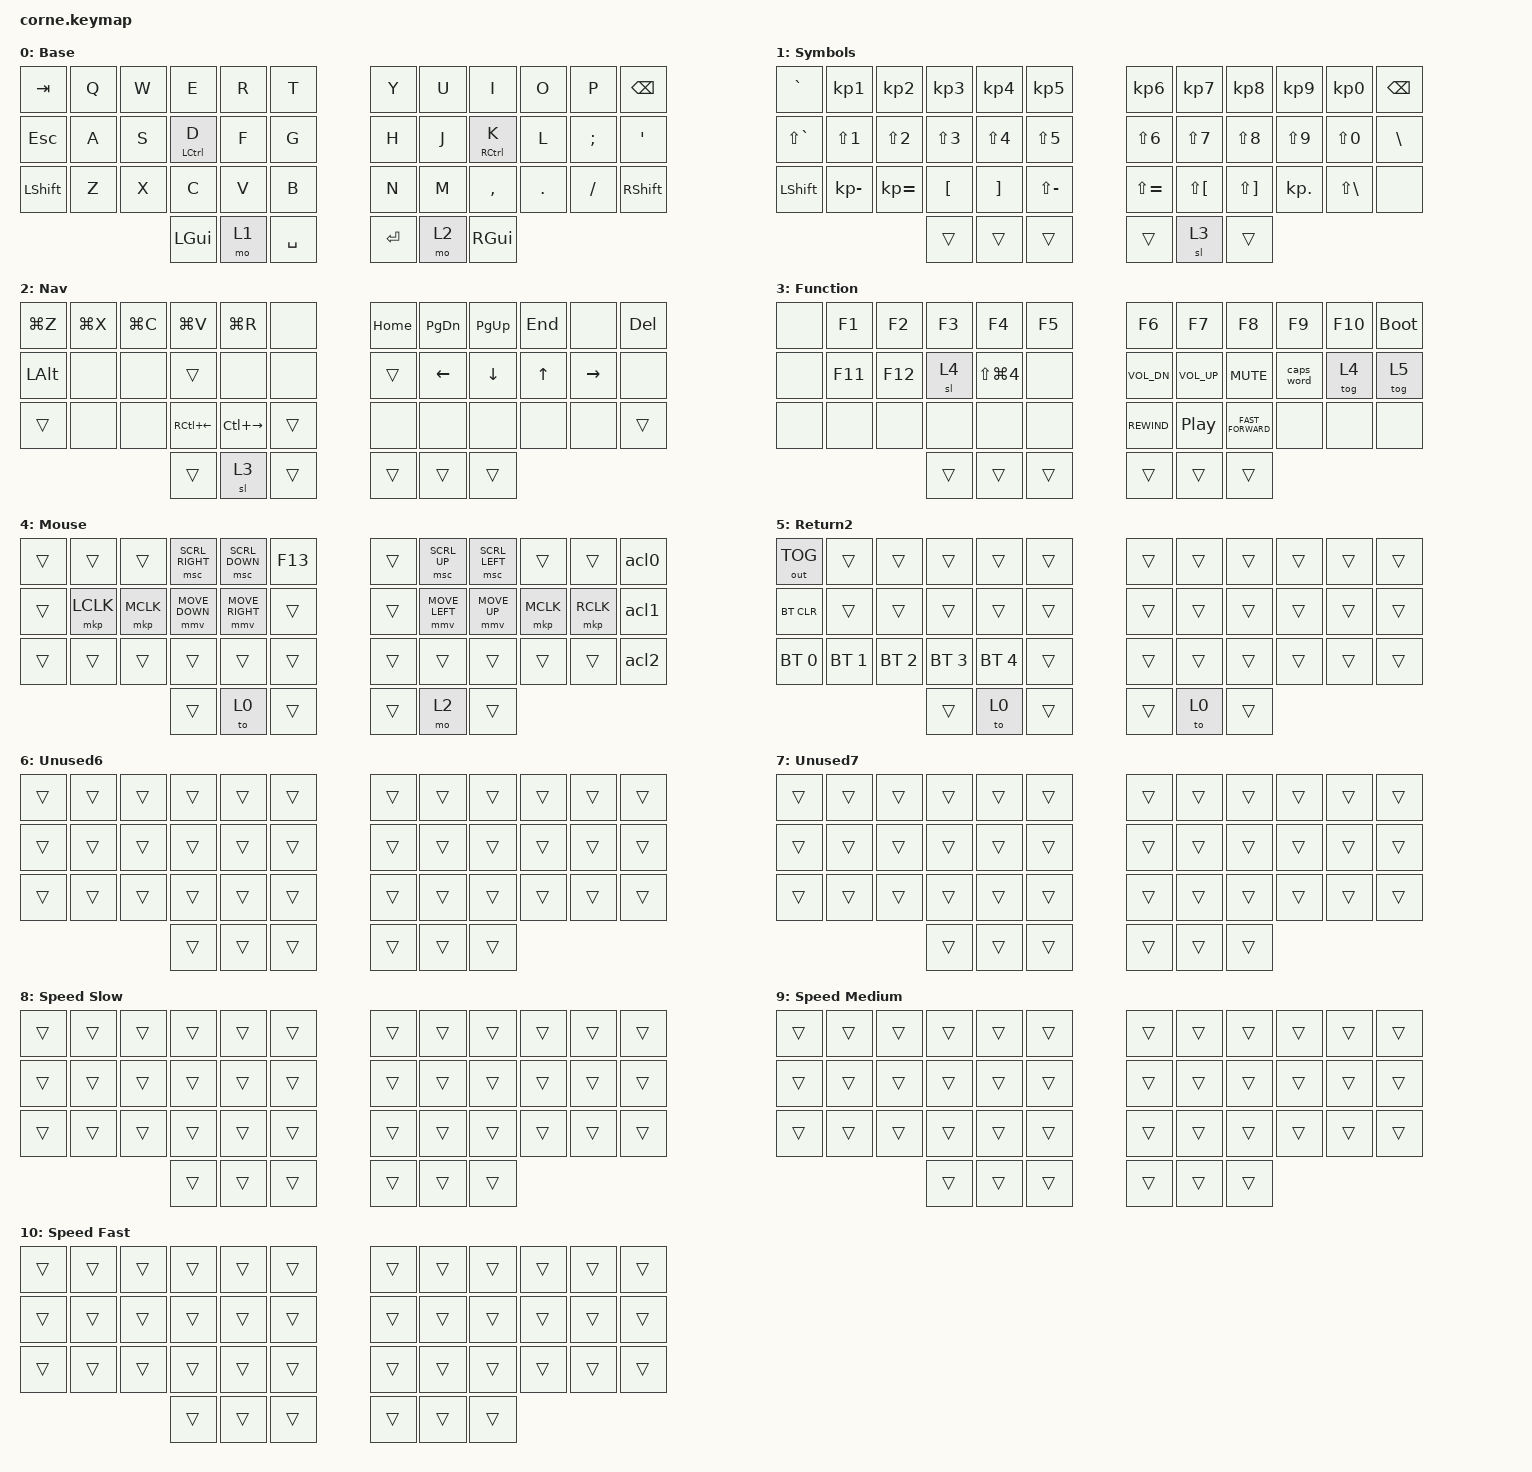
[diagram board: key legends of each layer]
/*
 * mak3r keymap for the Typeractive Corne (ZMK).
 *
 * GENERATED by scripts/generate_keymap.py from halcyon-corne's
 * keyboards/splitkb/halcyon/corne/keymaps/mak3r/keymap.json -- do not edit
 * by hand. Change the shared layout (halcyon-corne's keymap.json) and
 * regenerate.
 */

// Pointer speed of &mmv before the speed layers scale it, in px/s.
#define ZMK_POINTING_DEFAULT_MOVE_VAL 1250

#include <behaviors.dtsi>
#include <dt-bindings/zmk/keys.h>
#include <dt-bindings/zmk/bt.h>
#include <dt-bindings/zmk/outputs.h>
#include <dt-bindings/zmk/pointing.h>
#include <input/processors.dtsi>

/ {
    behaviors {
        // Home-row mod-tap (QMK LCTL_T/RCTL_T). tap-preferred + 200ms is the
        // closest match to QMK's default mod-tap behavior.
        hm: home_row_mod {
            compatible = "zmk,behavior-hold-tap";
            #binding-cells = <2>;
            flavor = "tap-preferred";
            tapping-term-ms = <200>;
            bindings = <&kp>, <&kp>;
        };

        tog_off: toggle_layer_off {
            compatible = "zmk,behavior-toggle-layer";
            #binding-cells = <1>;
            toggle-mode = "off";
            display-name = "Toggle Layer Off";
        };

        // Mouse speed keys (KC_ACL0/1/2): latch a hidden speed layer.
        acl0: acl0 {
            compatible = "zmk,behavior-macro";
            display-name = "Mouse Slow";
            #binding-cells = <0>;
            wait-ms = <0>;
            tap-ms = <0>;
            bindings = <&tog_off 9 &tog_off 10 &tog 8>;
        };
        acl1: acl1 {
            compatible = "zmk,behavior-macro";
            display-name = "Mouse Medium";
            #binding-cells = <0>;
            wait-ms = <0>;
            tap-ms = <0>;
            bindings = <&tog_off 8 &tog_off 10 &tog 9>;
        };
        acl2: acl2 {
            compatible = "zmk,behavior-macro";
            display-name = "Mouse Fast";
            #binding-cells = <0>;
            wait-ms = <0>;
            tap-ms = <0>;
            bindings = <&tog_off 8 &tog_off 9 &tog 10>;
        };
    };

    keymap {
        compatible = "zmk,keymap";

        layer_0 {
            display-name = "Base";
            bindings = <
            &kp TAB     &kp Q       &kp W       &kp E       &kp R       &kp T         &kp Y       &kp U       &kp I       &kp O       &kp P       &kp BSPC
            &kp ESC     &kp A       &kp S       &hm LCTRL D &kp F       &kp G         &kp H       &kp J       &hm RCTRL K &kp L       &kp SEMI    &kp SQT
            &kp LSHFT   &kp Z       &kp X       &kp C       &kp V       &kp B         &kp N       &kp M       &kp COMMA   &kp DOT     &kp FSLH    &kp RSHFT
                                                &kp LGUI    &mo 1       &kp SPACE     &kp RET     &mo 2       &kp RGUI
            >;
        };
        layer_1 {
            display-name = "Symbols";
            bindings = <
            &kp GRAVE     &kp KP_N1     &kp KP_N2     &kp KP_N3     &kp KP_N4     &kp KP_N5       &kp KP_N6     &kp KP_N7     &kp KP_N8     &kp KP_N9     &kp KP_N0     &kp BSPC
            &kp LS(GRAVE) &kp LS(N1)    &kp LS(N2)    &kp LS(N3)    &kp LS(N4)    &kp LS(N5)      &kp LS(N6)    &kp LS(N7)    &kp LS(N8)    &kp LS(N9)    &kp LS(N0)    &kp BSLH
            &kp LSHFT     &kp KP_MINUS  &kp KP_EQUAL  &kp LBKT      &kp RBKT      &kp LS(MINUS)   &kp LS(EQUAL) &kp LS(LBKT)  &kp LS(RBKT)  &kp KP_DOT    &kp LS(BSLH)  &none
                                                      &trans        &trans        &trans          &trans        &sl 3         &trans
            >;
        };
        layer_2 {
            display-name = "Nav";
            bindings = <
            &kp LG(Z)     &kp LG(X)     &kp LG(C)     &kp LG(V)     &kp LG(R)     &none           &kp HOME      &kp PG_DN     &kp PG_UP     &kp END       &none         &kp DEL
            &kp LALT      &none         &none         &trans        &none         &none           &trans        &kp LEFT      &kp DOWN      &kp UP        &kp RIGHT     &none
            &trans        &none         &none         &kp RC(LEFT)  &kp LC(RIGHT) &trans          &none         &none         &none         &none         &none         &trans
                                                      &trans        &sl 3         &trans          &trans        &trans        &trans
            >;
        };
        layer_3 {
            display-name = "Function";
            bindings = <
            &none              &kp F1             &kp F2             &kp F3             &kp F4             &kp F5               &kp F6             &kp F7             &kp F8             &kp F9             &kp F10            &bootloader
            &none              &kp F11            &kp F12            &sl 4              &kp LS(LG(N4))     &none                &kp C_VOL_DN       &kp C_VOL_UP       &kp C_MUTE         &caps_word         &tog 4             &tog 5
            &none              &none              &none              &none              &none              &none                &kp C_REWIND       &kp C_PLAY_PAUSE   &kp C_FAST_FORWARD &none              &none              &none
                                                                     &trans             &trans             &trans               &trans             &trans             &trans
            >;
        };
        layer_4 {
            display-name = "Mouse";
            bindings = <
            &trans          &trans          &trans          &msc SCRL_RIGHT &msc SCRL_DOWN  &kp F13           &trans          &msc SCRL_UP    &msc SCRL_LEFT  &trans          &trans          &acl0
            &trans          &mkp LCLK       &mkp MCLK       &mmv MOVE_DOWN  &mmv MOVE_RIGHT &trans            &trans          &mmv MOVE_LEFT  &mmv MOVE_UP    &mkp MCLK       &mkp RCLK       &acl1
            &trans          &trans          &trans          &trans          &trans          &trans            &trans          &trans          &trans          &trans          &trans          &acl2
                                                            &trans          &to 0           &trans            &trans          &mo 2           &trans
            >;
        };
        layer_5 {
            display-name = "Return2";
            bindings = <
            &out OUT_TOG &trans       &trans       &trans       &trans       &trans         &trans       &trans       &trans       &trans       &trans       &trans
            &bt BT_CLR   &trans       &trans       &trans       &trans       &trans         &trans       &trans       &trans       &trans       &trans       &trans
            &bt BT_SEL 0 &bt BT_SEL 1 &bt BT_SEL 2 &bt BT_SEL 3 &bt BT_SEL 4 &trans         &trans       &trans       &trans       &trans       &trans       &trans
                                                   &trans       &to 0        &trans         &trans       &to 0        &trans
            >;
        };
        layer_6 {
            display-name = "Unused6";
            bindings = <
            &trans &trans &trans &trans &trans &trans   &trans &trans &trans &trans &trans &trans
            &trans &trans &trans &trans &trans &trans   &trans &trans &trans &trans &trans &trans
            &trans &trans &trans &trans &trans &trans   &trans &trans &trans &trans &trans &trans
                                 &trans &trans &trans   &trans &trans &trans
            >;
        };
        layer_7 {
            display-name = "Unused7";
            bindings = <
            &trans &trans &trans &trans &trans &trans   &trans &trans &trans &trans &trans &trans
            &trans &trans &trans &trans &trans &trans   &trans &trans &trans &trans &trans &trans
            &trans &trans &trans &trans &trans &trans   &trans &trans &trans &trans &trans &trans
                                 &trans &trans &trans   &trans &trans &trans
            >;
        };
        layer_8 {
            display-name = "Speed Slow";
            bindings = <
            &trans &trans &trans &trans &trans &trans   &trans &trans &trans &trans &trans &trans
            &trans &trans &trans &trans &trans &trans   &trans &trans &trans &trans &trans &trans
            &trans &trans &trans &trans &trans &trans   &trans &trans &trans &trans &trans &trans
                                 &trans &trans &trans   &trans &trans &trans
            >;
        };
        layer_9 {
            display-name = "Speed Medium";
            bindings = <
            &trans &trans &trans &trans &trans &trans   &trans &trans &trans &trans &trans &trans
            &trans &trans &trans &trans &trans &trans   &trans &trans &trans &trans &trans &trans
            &trans &trans &trans &trans &trans &trans   &trans &trans &trans &trans &trans &trans
                                 &trans &trans &trans   &trans &trans &trans
            >;
        };
        layer_10 {
            display-name = "Speed Fast";
            bindings = <
            &trans &trans &trans &trans &trans &trans   &trans &trans &trans &trans &trans &trans
            &trans &trans &trans &trans &trans &trans   &trans &trans &trans &trans &trans &trans
            &trans &trans &trans &trans &trans &trans   &trans &trans &trans &trans &trans &trans
                                 &trans &trans &trans   &trans &trans &trans
            >;
        };
    };
};

&mmv {
    time-to-max-speed-ms = <800>;
};

// While a speed layer is on, scale mouse-key movement (not scrolling).
&mmv_input_listener {
    speed_slow {
        layers = <8>;
        input-processors = <&zip_xy_scaler 1 20>;
    };
    speed_medium {
        layers = <9>;
        input-processors = <&zip_xy_scaler 1 2>;
    };
    speed_fast {
        layers = <10>;
        input-processors = <&zip_xy_scaler 2 1>;
    };
};
